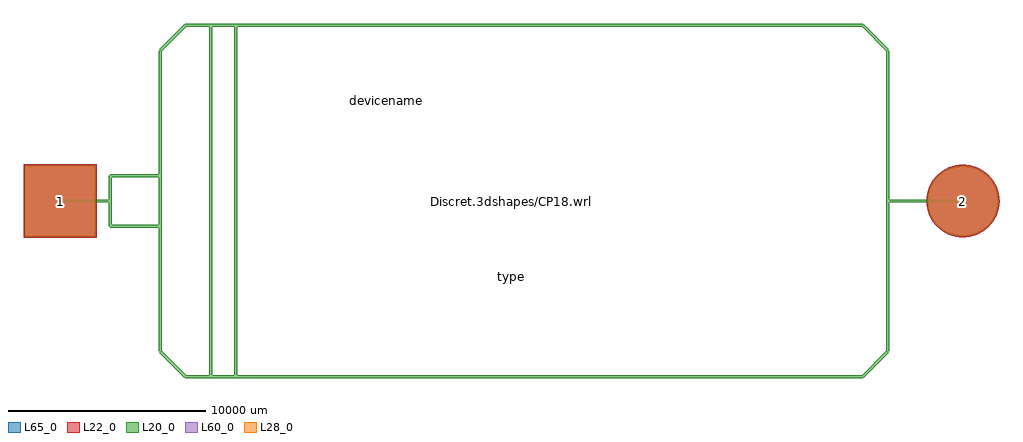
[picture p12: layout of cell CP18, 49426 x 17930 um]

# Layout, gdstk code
import gdstk
lib = gdstk.Library(unit=1e-6, precision=1e-09)
def R(c, l, rs):  # rectangles x0, y0, x1, y1
    for r in rs: c.add(gdstk.rectangle(r[:2], r[2:], *l))
def P(c, l, *ps):  # polygons
    for p in ps: c.add(gdstk.Polygon(p, *l))
L20_0 = (20, 0)
L22_0 = (22, 0)
L28_0 = (28, 0)
L60_0 = (60, 0)
L65_0 = (65, 0)

cp18 = lib.new_cell('CP18')
R(cp18, L22_0, [(-24713,-1853,-21007,1853)])
P(cp18, L22_0, [(24713,0),(24677.395,361.502),(24571.949,709.112),(24400.713,1029.472),(24170.269,1310.269),(23889.472,1540.713),(23569.112,1711.949),(23221.502,1817.395),(22860,1853),(22498.498,1817.395),(22150.888,1711.949),(21830.528,1540.713),(21549.731,1310.269),(21319.287,1029.472),(21148.051,709.112),(21042.605,361.502),(21007,0),(21042.605,-361.502),(21148.051,-709.112),(21319.287,-1029.472),(21549.731,-1310.269),(21830.528,-1540.713),(22150.888,-1711.949),(22498.498,-1817.395),(22860,-1853),(23221.502,-1817.395),(23569.112,-1711.949),(23889.472,-1540.713),(24170.269,-1310.269),(24400.713,-1029.472),(24571.949,-709.112),(24677.395,-361.502)])
R(cp18, L28_0, [(-24638,-1778,-21082,1778)])
P(cp18, L28_0, [(24638,0),(24603.836,346.871),(24502.658,680.411),(24338.353,987.804),(24117.236,1257.236),(23847.804,1478.353),(23540.411,1642.658),(23206.871,1743.836),(22860,1778),(22513.129,1743.836),(22179.589,1642.658),(21872.196,1478.353),(21602.764,1257.236),(21381.647,987.804),(21217.342,680.411),(21116.164,346.871),(21082,0),(21116.164,-346.871),(21217.342,-680.411),(21381.647,-987.804),(21602.764,-1257.236),(21872.196,-1478.353),(22179.589,-1642.658),(22513.129,-1743.836),(22860,-1778),(23206.871,-1743.836),(23540.411,-1642.658),(23847.804,-1478.353),(24117.236,-1257.236),(24338.353,-987.804),(24502.658,-680.411),(24603.836,-346.871)])
R(cp18, L60_0, [(-24638,-1778,-21082,1778)])
P(cp18, L60_0, [(24638,0),(24603.836,346.871),(24502.658,680.411),(24338.353,987.804),(24117.236,1257.236),(23847.804,1478.353),(23540.411,1642.658),(23206.871,1743.836),(22860,1778),(22513.129,1743.836),(22179.589,1642.658),(21872.196,1478.353),(21602.764,1257.236),(21381.647,987.804),(21217.342,680.411),(21116.164,346.871),(21082,0),(21116.164,-346.871),(21217.342,-680.411),(21381.647,-987.804),(21602.764,-1257.236),(21872.196,-1478.353),(22179.589,-1642.658),(22513.129,-1743.836),(22860,-1778),(23206.871,-1743.836),(23540.411,-1642.658),(23847.804,-1478.353),(24117.236,-1257.236),(24338.353,-987.804),(24502.658,-680.411),(24603.836,-346.871)])
R(cp18, L65_0, [(-24713,-1853,-21007,1853)])
P(cp18, L65_0, [(24713,0),(24677.395,361.502),(24571.949,709.112),(24400.713,1029.472),(24170.269,1310.269),(23889.472,1540.713),(23569.112,1711.949),(23221.502,1817.395),(22860,1853),(22498.498,1817.395),(22150.888,1711.949),(21830.528,1540.713),(21549.731,1310.269),(21319.287,1029.472),(21148.051,709.112),(21042.605,361.502),(21007,0),(21042.605,-361.502),(21148.051,-709.112),(21319.287,-1029.472),(21549.731,-1310.269),(21830.528,-1540.713),(22150.888,-1711.949),(22498.498,-1817.395),(22860,-1853),(23221.502,-1817.395),(23569.112,-1711.949),(23889.472,-1540.713),(24170.269,-1310.269),(24400.713,-1029.472),(24571.949,-709.112),(24677.395,-361.502)])
cp18.add(gdstk.FlexPath([(-13970,8890),(-13970,-8890)], 149.998, ends="flush", simple_path=True, layer=20, datatype=0))  # L20_0
cp18.add(gdstk.FlexPath([(-15240,8890),(-15240,-8890)], 149.998, ends="flush", simple_path=True, layer=20, datatype=0))  # L20_0
cp18.add(gdstk.FlexPath([(-17780,7620),(-17780,-7620)], 149.998, ends="flush", simple_path=True, layer=20, datatype=0))  # L20_0
cp18.add(gdstk.FlexPath([(-20320,-1270),(-17780,-1270)], 149.998, ends="flush", simple_path=True, layer=20, datatype=0))  # L20_0
cp18.add(gdstk.FlexPath([(-20320,1270),(-20320,-1270)], 149.998, ends="flush", simple_path=True, layer=20, datatype=0))  # L20_0
cp18.add(gdstk.FlexPath([(-17780,1270),(-20320,1270)], 149.998, ends="flush", simple_path=True, layer=20, datatype=0))  # L20_0
cp18.add(gdstk.FlexPath([(19050,0),(22860,0)], 149.998, ends="flush", simple_path=True, layer=20, datatype=0))  # L20_0
cp18.add(gdstk.FlexPath([(-20320,0),(-22860,0)], 149.998, ends="flush", simple_path=True, layer=20, datatype=0))  # L20_0
cp18.add(gdstk.FlexPath([(-16510,-8890),(-17780,-7620)], 149.998, ends="flush", simple_path=True, layer=20, datatype=0))  # L20_0
cp18.add(gdstk.FlexPath([(17780,-8890),(-16510,-8890)], 149.998, ends="flush", simple_path=True, layer=20, datatype=0))  # L20_0
cp18.add(gdstk.FlexPath([(19050,-7620),(17780,-8890)], 149.998, ends="flush", simple_path=True, layer=20, datatype=0))  # L20_0
cp18.add(gdstk.FlexPath([(19050,7620),(19050,-7620)], 149.998, ends="flush", simple_path=True, layer=20, datatype=0))  # L20_0
cp18.add(gdstk.FlexPath([(17780,8890),(19050,7620)], 149.998, ends="flush", simple_path=True, layer=20, datatype=0))  # L20_0
cp18.add(gdstk.FlexPath([(-16510,8890),(17780,8890)], 149.998, ends="flush", simple_path=True, layer=20, datatype=0))  # L20_0
cp18.add(gdstk.FlexPath([(-17780,7620),(-16510,8890)], 149.998, ends="flush", simple_path=True, layer=20, datatype=0))  # L20_0
cp18.add(gdstk.Label('Discret.3dshapes/CP18.wrl', (0,0), layer=12, texttype=0))
cp18.add(gdstk.Label('2', (22860,0), layer=28, texttype=0))
cp18.add(gdstk.Label('1', (-22860,0), layer=28, texttype=0))
cp18.add(gdstk.Label('type', (0,-3810), layer=9, texttype=0))
cp18.add(gdstk.Label('devicename', (-6350,5080), layer=9, texttype=0))

lib.write_gds('CP18.gds')
